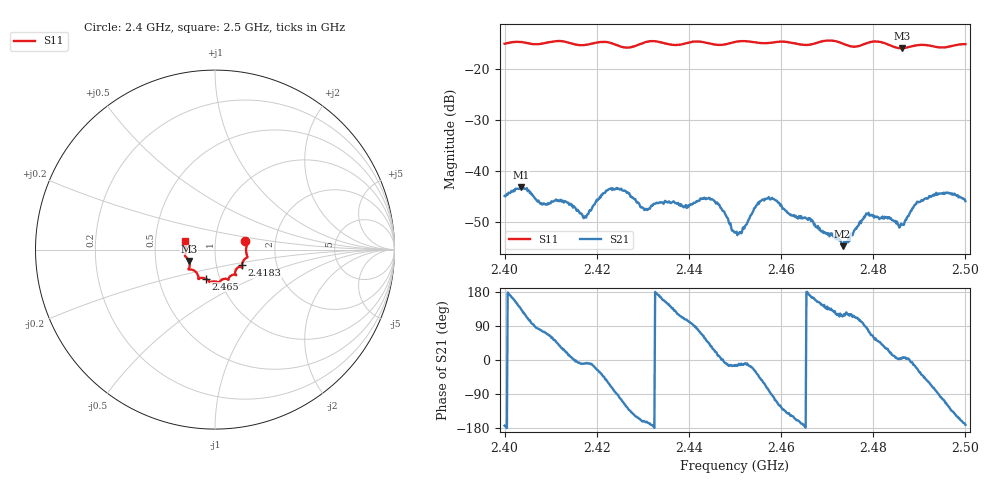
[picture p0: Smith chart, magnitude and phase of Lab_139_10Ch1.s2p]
# Hz S RI R 50
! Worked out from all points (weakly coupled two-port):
!   601 points, 2.4 GHz to 2.5 GHz, reference 50 ohm
!   highest |S21| = -43.30 dB at 2.4035 GHz (marker M1); lowest = -54.8 dB at 2.4733 GHz (marker M2)
!   lowest |S11| = -16.0 dB at 2.4862 GHz (marker M3), VSWR 1.38, Z = 37.1 - j4.82 ohm
!   |S11| at or under -10 dB: start of sweep to end of sweep
!   S12 and S22 are empty: the file has one direction only
!   S11 on the Smith chart (normalised r, x): 2.4 GHz: 1.40, +0.13; 2.4183 GHz: 1.33, -0.24; 2.465 GHz: 0.86, -0.29; 2.5 GHz: 0.71, +0.07
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2.4e9  0.1688 0.0461  -0.0056 -0.000674  0 0  0 0
2.4035e9  0.1798 0.0303  -0.00485 0.00482  0 0  0 0
2.408e9  0.1744 -0.0162  0.000997 0.00467  0 0  0 0
2.413e9  0.1785 -0.0442  0.00458 0.0021  0 0  0 0
2.416667e9  0.1551 -0.0683  0.00372 -0.000672  0 0  0 0
2.418333e9  0.1499 -0.0868  0.00391 -0.000592  0 0  0 0
2.423e9  0.1493 -0.098  0.0024 -0.00622  0 0  0 0
2.4265e9  0.1216 -0.1045  -0.00333 -0.00506  0 0  0 0
2.4305e9  0.1151 -0.1397  -0.004 -0.0012  0 0  0 0
2.433333e9  0.1169 -0.1411  -0.00473 0.000705  0 0  0 0
2.444833e9  0.0629 -0.1628  0.00416 0.00312  0 0  0 0
2.45e9  0.0253 -0.1807  0.00238 -0.000682  0 0  0 0
2.457e9  -0.00994 -0.1773  0.00146 -0.00515  0 0  0 0
2.465e9  -0.0528 -0.1621  -0.00341 -0.000432  0 0  0 0
2.466667e9  -0.0714 -0.1576  -0.00316 0.000893  0 0  0 0
2.473333e9  -0.093 -0.1496  -0.000762 0.00165  0 0  0 0
2.4785e9  -0.1379 -0.1106  0.000242 0.00379  0 0  0 0
2.483333e9  -0.1421 -0.096  0.00318 0.00142  0 0  0 0
2.486167e9  -0.1446 -0.0633  0.00299 0.000181  0 0  0 0
2.489333e9  -0.1639 -0.0394  0.00442 -0.00166  0 0  0 0
2.492667e9  -0.1649 -0.0223  0.00206 -0.0052  0 0  0 0
2.5e9  -0.167 0.047  -0.00495 -0.000786  0 0  0 0
